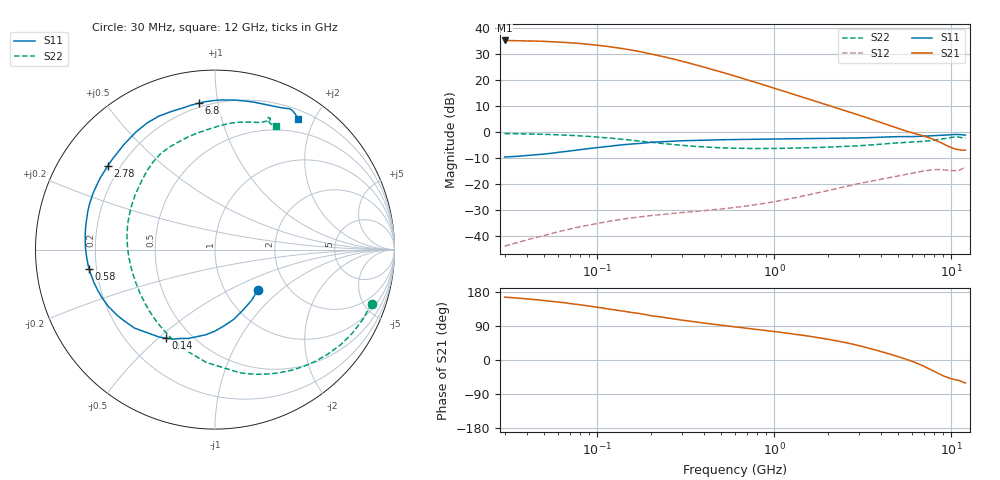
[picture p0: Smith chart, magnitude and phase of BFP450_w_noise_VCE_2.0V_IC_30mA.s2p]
! (c) 2015  Infineon Technologies AG, Munich
! Infineon Technologies  Discrete & RF Semiconductors
! BFP450
! VCE =  2.0 V,  IC =  30 mA
! Common Emitter S-Parameters:  Nov 2015
# GHz  S  MA  R  50
!  f  S11  S21  S12  S22
! GHz  MAG  ANG  MAG  ANG  MAG  ANG  MAG  ANG
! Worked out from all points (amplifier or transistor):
!   239 points, 30 MHz to 12 GHz, reference 50 ohm
!   highest |S21| = 35.2 dB at 30 MHz (marker M1)
!   |S21| within 3 dB of that: start of sweep to 135 MHz
!   unconditionally stable (mu >= 1): 1.4 GHz to end of sweep
!   at 300 MHz: K = 0.40, MSG = 29.1 dB, |S12| = -31.1 dB
!   at 1.88 GHz: K = 1.07, MAG = 15.3 dB, |S12| = -23.1 dB
!   at 12 GHz: K = 1.10, MAG = 1.4 dB, |S12| = -13.7 dB
!   lowest NFmin = 1.27 dB at 450 MHz
!   S11 on the Smith chart (normalised r, x): 30 MHz: 1.42, -0.71; 140 MHz: 0.37, -0.53; 580 MHz: 0.17, -0.07; 2.78 GHz: 0.15, +0.34; 6.8 GHz: 0.18, +0.88; 12 GHz: 0.31, +1.78
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0.03  0.3275 -42.9  57.23 165.8  0.0063 79.8  0.923 -19.1
0.04  0.3493 -54.5  56.21 161.4  0.0083 76.1  0.9108 -25.3
0.05  0.3728 -65.7  55.03 156.9  0.0101 72.3  0.8955 -31.4
0.06  0.4022 -74.9  53.44 153.2  0.0119 69.3  0.8778 -37.2
0.07  0.4282 -83.3  51.72 149.1  0.0135 66.4  0.8568 -42.9
0.085  0.4652 -93.2  49.09 144.1  0.0155 62.4  0.8251 -50.7
0.11  0.5164 -106.6  44.69 136.4  0.0184 56.8  0.7733 -62.6
0.14  0.5633 -119.0  39.74 128.7  0.021 51.3  0.7169 -74.9
0.155  0.5812 -123.9  37.52 125.6  0.022 49.5  0.691 -80.0
0.2  0.6267 -135.8  31.57 117.2  0.0244 44.8  0.6309 -94.3
0.24  0.647 -143.1  27.62 112.0  0.026 42.6  0.5904 -104.0
0.3  0.6727 -151.8  22.84 105.2  0.0279 40.5  0.55 -116.5
0.36  0.6855 -157.7  19.42 100.4  0.0294 39.7  0.5237 -125.8
0.45  0.6989 -164.7  15.69 94.4  0.0316 39.7  0.5005 -137.0
0.58  0.7098 -171.4  12.24 88.3  0.0345 40.7  0.4842 -148.3
0.6  0.7118 -172.4  11.77 87.3  0.035 40.9  0.4831 -149.9
1  0.726 174.7  6.879 75.1  0.0452 44.3  0.4787 -169.8
1.64  0.7422 161.1  4.047 61.6  0.0634 44.6  0.4953 171.9
2.78  0.7581 141.9  2.277 41.6  0.095 37.0  0.5319 148.9
4.5  0.8003 118.3  1.31 15.3  0.1319 20.7  0.5985 125.1
6.8  0.8208 96.2  0.851 -13.9  0.1733 -1.1  0.6518 100.5
12  0.8636 57.5  0.443 -60.7  0.2075 -41.1  0.768 63.7
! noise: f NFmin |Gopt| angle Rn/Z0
0.45  1.27  0.43  -175  0.06
0.9  1.34  0.47  -172  0.06
1.9  1.45  0.53  -157  0.08
2.4  1.58  0.55  -148  0.1
